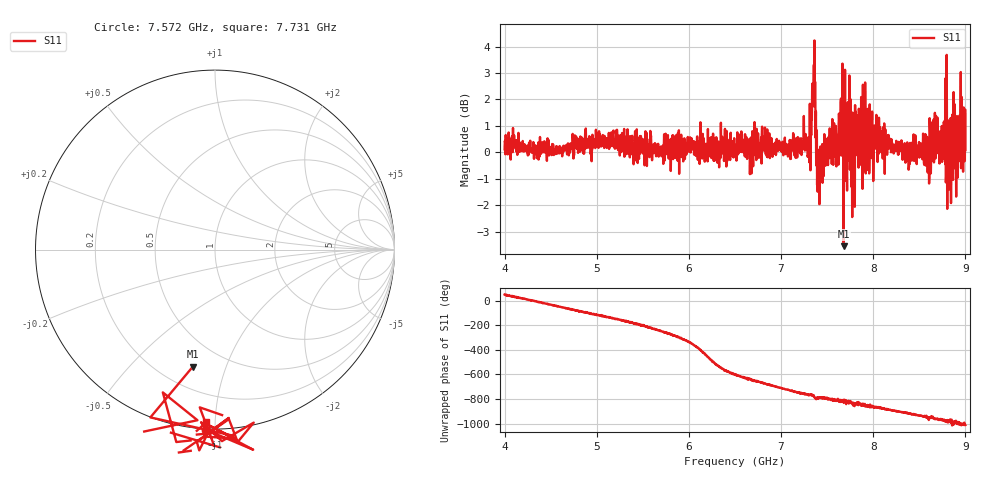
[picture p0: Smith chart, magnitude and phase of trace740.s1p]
! Created with skrf 1.8.0 (http://scikit-rf.org).
# Hz S RI R 50.0
!freq ReS11 ImS11
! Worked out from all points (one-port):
!   1601 points, 4 GHz to 9 GHz, reference 50 ohm
!   lowest |S11| = -3.5 dB at 7.678 GHz (marker M1), VSWR 4.97, Z = 16.5 - j38.6 ohm
!   |S11| at or under -10 dB: nowhere
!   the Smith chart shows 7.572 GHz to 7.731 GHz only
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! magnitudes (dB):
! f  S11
! 4 GHz  0.1
! 4.625 GHz  -0.1
! 5.25 GHz  -0.1
! 5.875 GHz  0.3
! 6.5 GHz  -0.1
! 7.125 GHz  0.3
! 7.294 GHz  -0.2
! 7.347 GHz  2.0
! 7.362 GHz  4.2
! 7.4 GHz  0.1
! 7.416 GHz  -2.0
! 7.491 GHz  -0.2
! 7.597 GHz  0.6
! 7.65 GHz  2.0
! 7.678 GHz  -3.5
! 7.75 GHz  -0.2
! 7.775 GHz  1.5
! 7.828 GHz  0.5
! 7.928 GHz  1.4
! 7.981 GHz  -0.2
! 8.375 GHz  -0.2
! 8.584 GHz  0.6
! 8.775 GHz  0.4
! 8.841 GHz  1.3
! 8.884 GHz  1.8
! 8.919 GHz  -0.1
! 8.959 GHz  2.1
! 9 GHz  0.1
